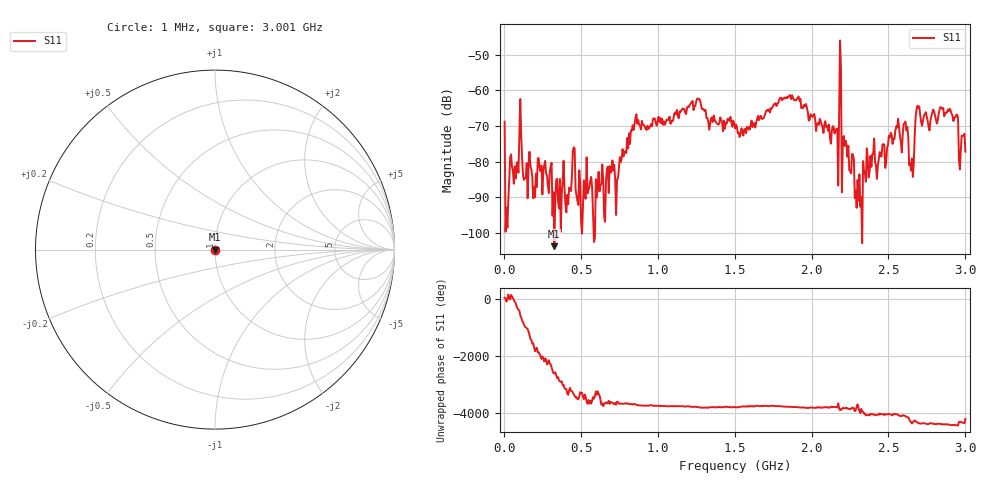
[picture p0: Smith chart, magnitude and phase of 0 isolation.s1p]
! NanoVNA-App by SYSJOINT et al v1.1.209 (+OD18)
! Date: 2025-09-17 09:44:52
! Start: 1MHz Stop: 3.001GHz Points: 501
! S-Parameter data: F S11
# Hz S RI R 50
!  Frequency  S11_Real  S11_Imag
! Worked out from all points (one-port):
!   501 points, 1 MHz to 3.001 GHz, reference 50 ohm
!   lowest |S11| = -103.7 dB at 325 MHz (marker M1), VSWR 1.00, Z = 50 - j0.000644 ohm
!   |S11| at or under -10 dB: start of sweep to end of sweep
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1000000  0.000296 0.000211
1.9e7  1.17e-05 4.38e-07
7.9e7  -7e-06 9.09e-05
1.09e8  0.000114 0.000207
1.33e8  -7.37e-06 5.89e-05
3.25e8  -9.37e-07 -6.44e-06
3.79e8  -4.96e-05 -1.72e-05
7.51e8  5.63e-07 -0.000115
8.59e8  -0.0003 -0.00035
1.129e9  -0.000433 -3.86e-05
1.261e9  -0.000656 0.000362
1.327e9  -0.000223 0.000292
1.501e9  -0.000262 0.000132
1.879e9  -0.000698 0.00037
2.161e9  -0.00026 0.000125
2.179e9  -0.000161 0.000411
2.197e9  9.44e-06 3.59e-05
2.209e9  -0.000103 0.000205
2.251e9  1.95e-05 7.08e-05
2.425e9  -2.19e-05 -5.29e-05
2.557e9  -6.46e-05 -0.000294
2.629e9  -0.000197 0.0001
2.653e9  5.26e-05 -9.79e-05
2.689e9  0.00054 -0.000283
2.767e9  0.000117 -0.000247
2.845e9  2.29e-05 -0.000562
2.941e9  -0.000265 -0.000365
3.001e9  -1.55e-05 0.000137
